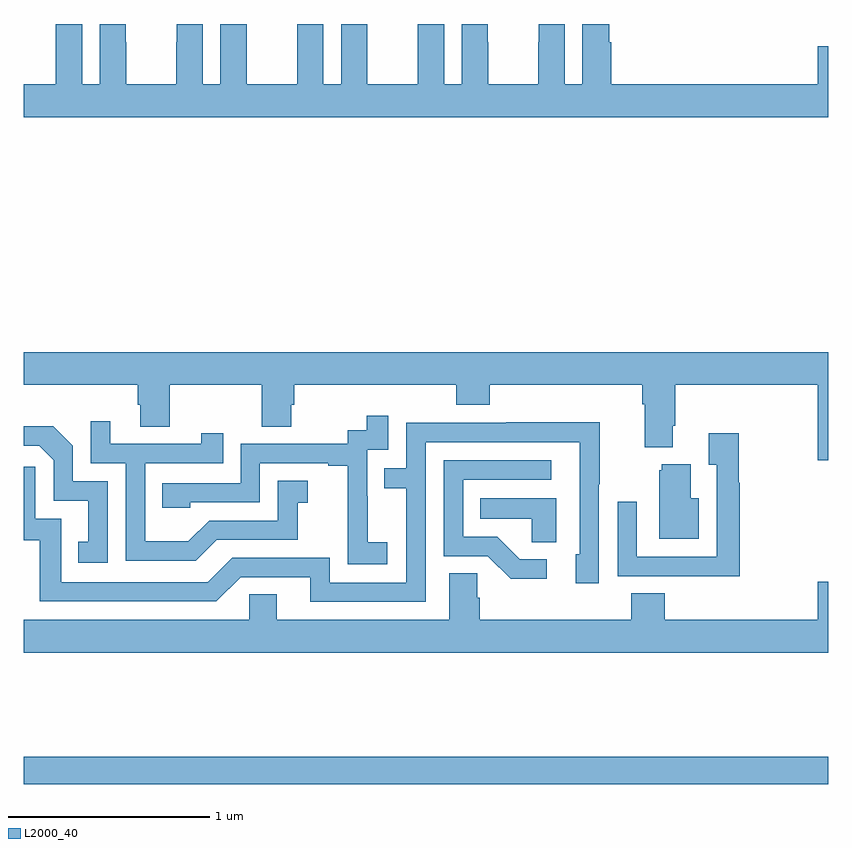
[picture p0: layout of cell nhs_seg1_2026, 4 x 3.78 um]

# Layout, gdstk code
import gdstk
lib = gdstk.Library(unit=1e-6, precision=1e-09)
def R(c, l, rs):  # rectangles x0, y0, x1, y1
    for r in rs: c.add(gdstk.rectangle(r[:2], r[2:], *l))
def P(c, l, *ps):  # polygons
    for p in ps: c.add(gdstk.Polygon(p, *l))
L2000_40 = (2000, 40)

nhs_seg1_2026 = lib.new_cell('nhs_seg1_2026')
R(nhs_seg1_2026, L2000_40, [(221,544.42,225,544.556)])
P(nhs_seg1_2026, L2000_40, [(225,548.089),(224.948,548.089),(224.948,547.9),(223.922,547.9),(223.922,548.108),(223.912,548.108),(223.912,548.199),(223.778,548.199),(223.778,547.9),(223.69,547.9),(223.69,548.199),(223.56,548.199),(223.56,548.108),(223.559,548.108),(223.559,547.9),(223.309,547.9),(223.309,548.108),(223.308,548.108),(223.308,548.199),(223.178,548.199),(223.178,547.9),(223.09,547.9),(223.09,548.199),(222.96,548.199),(222.96,548.108),(222.959,548.108),(222.959,547.9),(222.709,547.9),(222.709,548.108),(222.708,548.108),(222.708,548.199),(222.578,548.199),(222.578,547.9),(222.49,547.9),(222.49,548.199),(222.36,548.199),(222.36,548.108),(222.359,548.108),(222.359,547.9),(222.109,547.9),(222.109,548.108),(222.108,548.108),(222.108,548.199),(221.978,548.199),(221.978,547.9),(221.89,547.9),(221.89,548.199),(221.76,548.199),(221.76,548.108),(221.759,548.108),(221.759,547.9),(221.509,547.9),(221.509,548.108),(221.508,548.108),(221.508,548.199),(221.378,548.199),(221.378,547.9),(221.29,547.9),(221.29,548.199),(221.16,548.199),(221.16,548.108),(221.159,548.108),(221.159,547.9),(221,547.9),(221,547.736),(225,547.736)],
  [(225,546.568),(221,546.568),(221,546.404),(221.567,546.404),(221.567,546.306),(221.579,546.306),(221.579,546.196),(221.727,546.196),(221.727,546.404),(222.184,546.404),(222.184,546.196),(222.331,546.196),(222.331,546.306),(222.344,546.306),(222.344,546.404),(223.151,546.404),(223.151,546.305),(223.316,546.305),(223.316,546.404),(224.075,546.404),(224.075,546.308),(224.087,546.308),(224.087,546.095),(224.227,546.095),(224.227,546.202),(224.24,546.202),(224.24,546.404),(224.948,546.404),(224.948,546.03),(225,546.03)],
  [(222.808,545.623),(222.71,545.623),(222.71,545.852),(222.708,545.852),(222.708,546.081),(222.813,546.081),(222.813,546.25),(222.705,546.25),(222.705,546.18),(222.612,546.18),(222.612,546.111),(222.078,546.111),(222.078,545.916),(221.689,545.916),(221.689,545.793),(221.829,545.793),(221.829,545.82),(222.174,545.82),(222.174,546.015),(222.515,546.015),(222.515,546.003),(222.611,546.003),(222.611,545.719),(222.61,545.719),(222.61,545.513),(222.808,545.513)],
  [(221.959,545.634),(222.363,545.634),(222.363,545.819),(222.412,545.819),(222.412,545.929),(222.264,545.929),(222.264,545.73),(221.922,545.73),(221.818,545.626),(221.604,545.626),(221.604,546.015),(221.993,546.015),(221.993,546.163),(221.882,546.163),(221.882,546.111),(221.431,546.111),(221.431,546.223),(221.334,546.223),(221.334,546.015),(221.508,546.015),(221.508,545.529),(221.854,545.529)],
  [(222.999,546.12),(223.764,546.12),(223.764,545.562),(223.745,545.562),(223.745,545.418),(223.86,545.418),(223.86,545.911),(223.863,545.911),(223.863,546.218),(223.399,546.218),(223.399,546.216),(222.903,546.216),(222.903,545.991),(222.793,545.991),(222.793,545.89),(222.903,545.89),(222.903,545.421),(222.522,545.421),(222.522,545.544),(222.036,545.544),(221.916,545.424),(221.187,545.424),(221.187,545.739),(221.058,545.739),(221.058,545.998),(221,545.998),(221,545.631),(221.079,545.631),(221.079,545.328),(221.958,545.328),(222.078,545.448),(222.425,545.448),(222.425,545.325),(222.999,545.325)],
  [(221.418,545.925),(221.244,545.925),(221.244,546.102),(221.146,546.2),(221,546.2),(221,546.102),(221.076,546.102),(221.148,546.03),(221.148,545.829),(221.321,545.829),(221.321,545.625),(221.272,545.625),(221.272,545.52),(221.418,545.52)],
  [(224.561,545.918),(224.554,545.918),(224.554,546.163),(224.405,546.163),(224.405,546.007),(224.445,546.007),(224.445,545.55),(224.049,545.55),(224.049,545.824),(223.953,545.824),(223.953,545.454),(224.269,545.454),(224.269,545.453),(224.561,545.453)],
  [(223.6,545.538),(223.465,545.538),(223.354,545.649),(223.185,545.649),(223.185,545.934),(223.624,545.934),(223.624,546.03),(223.089,546.03),(223.089,545.553),(223.308,545.553),(223.421,545.441),(223.6,545.441)],
  [(224.356,545.842),(224.317,545.842),(224.317,546.01),(224.171,546.01),(224.171,545.979),(224.159,545.979),(224.159,545.639),(224.356,545.639)],
  [(223.648,545.842),(223.27,545.842),(223.27,545.738),(223.527,545.738),(223.527,545.623),(223.648,545.623)],
  [(225,545.425),(224.948,545.425),(224.948,545.236),(224.186,545.236),(224.186,545.369),(224.021,545.369),(224.021,545.236),(223.268,545.236),(223.268,545.345),(223.254,545.345),(223.254,545.468),(223.115,545.468),(223.115,545.236),(222.259,545.236),(222.259,545.363),(222.12,545.363),(222.12,545.236),(221,545.236),(221,545.072),(225,545.072)])

lib.write_gds('nhs_seg1_2026.gds')
